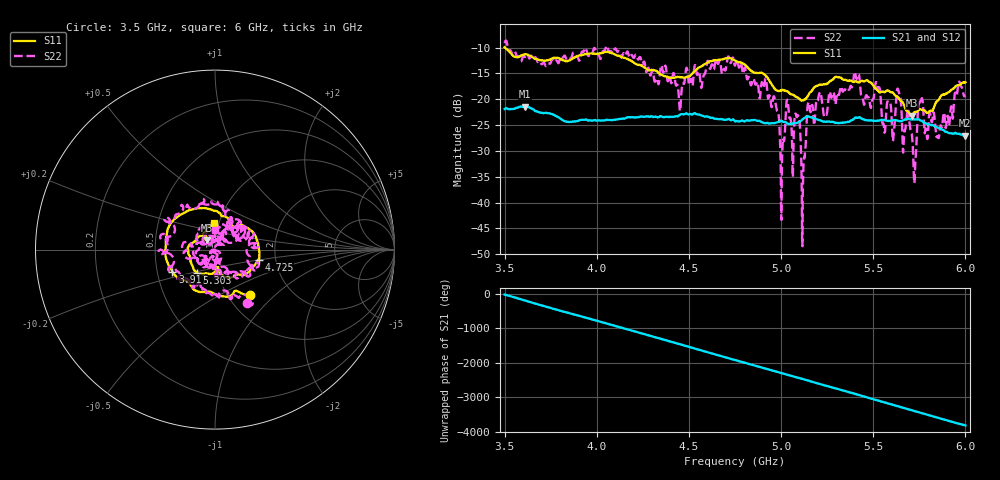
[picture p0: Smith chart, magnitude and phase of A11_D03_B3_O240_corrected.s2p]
! Created with skrf 1.9.0 (http://scikit-rf.org).
# Hz S RI R 50.0
!freq ReS11 ImS11 ReS21 ImS21 ReS12 ImS12 ReS22 ImS22
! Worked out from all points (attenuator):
!   1601 points, 3.5 GHz to 6 GHz, reference 50 ohm
!   highest |S21| = -21.41 dB at 3.611 GHz (marker M1); lowest = -27.1 dB at 5.998 GHz (marker M2)
!   lowest |S11| = -23.2 dB at 5.708 GHz (marker M3), VSWR 1.15, Z = 45.4 + j4.8 ohm
!   |S11| at or under -10 dB: 3.503 GHz to end of sweep
!   |S22| runs from -48.5 to -8.6 dB; largest |S21 - S12| = 0.00096
!   S11 on the Smith chart (normalised r, x): 3.5 GHz: 1.26, -0.71; 3.917 GHz: 0.60, -0.16; 4.725 GHz: 1.63, -0.19; 5.303 GHz: 0.79, -0.21; 6 GHz: 0.95, +0.28
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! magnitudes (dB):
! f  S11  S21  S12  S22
! 3.5 GHz  -9.9  -21.9  -21.9  -9.1
! 3.611 GHz  -11.3  -21.4  -21.4  -11.8
! 3.917 GHz  -11.5  -24.0  -24.0  -10.9
! 4.334 GHz  -14.9  -23.5  -23.4  -17.1
! 4.725 GHz  -12.1  -24.0  -24.0  -12.9
! 4.75 GHz  -12.5  -24.3  -24.2  -13.5
! 4.967 GHz  -18.0  -24.6  -24.5  -20.2
! 5.006 GHz  -18.2  -24.3  -24.2  -30.4
! 5.034 GHz  -18.4  -24.7  -24.6  -20.2
! 5.088 GHz  -19.6  -24.6  -24.5  -23.3
! 5.12 GHz  -20.2  -23.8  -23.7  -34.1
! 5.145 GHz  -19.4  -23.3  -23.3  -20.9
! 5.167 GHz  -18.3  -23.5  -23.5  -21.2
! 5.303 GHz  -15.7  -24.6  -24.5  -19.1
! 5.584 GHz  -18.4  -24.2  -24.2  -20.5
! 5.639 GHz  -19.8  -24.2  -24.2  -18.6
! 5.708 GHz  -23.2  -23.9  -23.9  -26.7
! 5.727 GHz  -22.5  -23.9  -23.9  -33.5
! 5.756 GHz  -22.0  -24.1  -24.0  -21.0
! 5.85 GHz  -20.3  -25.5  -25.4  -27.2
! 5.998 GHz  -16.7  -27.1  -27.0  -19.3
! 6 GHz  -16.7  -27.1  -27.0  -19.2
